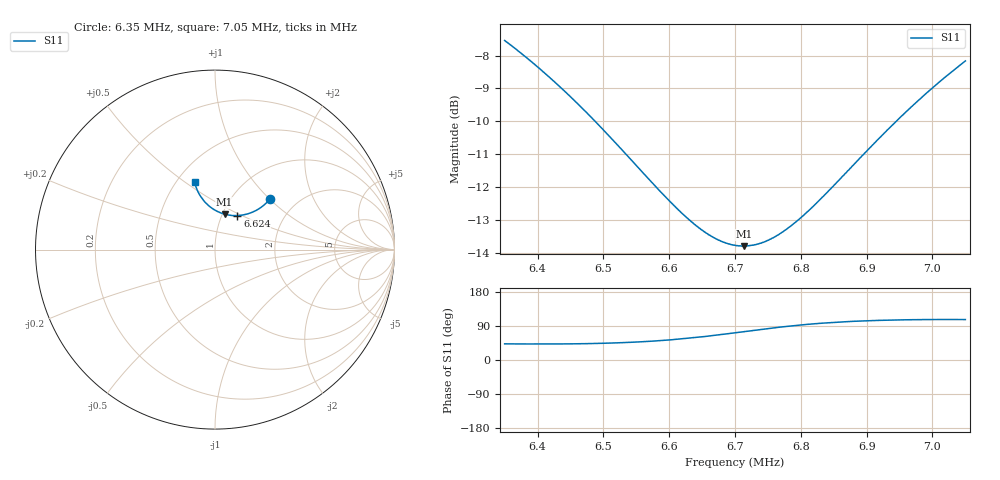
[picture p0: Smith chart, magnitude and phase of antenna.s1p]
! Calibrated high-resolution NanoVNA antenna measurement
# Hz S RI R 50
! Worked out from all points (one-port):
!   1801 points, 6.35 MHz to 7.05 MHz, reference 50 ohm
!   lowest |S11| = -13.8 dB at 6.714 MHz (marker M1), VSWR 1.51, Z = 51.2 + j21.1 ohm
!   |S11| at or under -10 dB: 6.488 MHz to 6.945 MHz (456.9 kHz wide, 6.8 % of centre)
!   S11 on the Smith chart (normalised r, x): 6.35 MHz: 1.47, +1.02; 6.624 MHz: 1.18, +0.47; 7.05 MHz: 0.61, +0.54
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6350000  0.3085 0.2845
6361667  0.3031 0.278
6389667  0.2889 0.2627
6437500  0.2614 0.2391
6484945  0.2307 0.2193
6525000  0.2023 0.2059
6570111  0.1681 0.1955
6612500  0.1346 0.1902
6624166  0.1251 0.1896
6644000  0.1091 0.1894
6662278  0.0944 0.1902
6681333  0.079 0.1921
6700000  0.0641 0.1949
6713611  0.0533 0.1975
6731889  0.0392 0.2019
6748611  0.0266 0.2068
6767278  0.0131 0.213
6787500  -0.00122 0.2206
6802667  -0.0114 0.2269
6820945  -0.0232 0.2351
6846223  -0.0384 0.2475
6875000  -0.0541 0.263
6919333  -0.0752 0.2889
6962500  -0.0916 0.3159
6986222  -0.0989 0.3313
7012278  -0.1057 0.3486
7040278  -0.1113 0.3674
7050000  -0.1129 0.374
